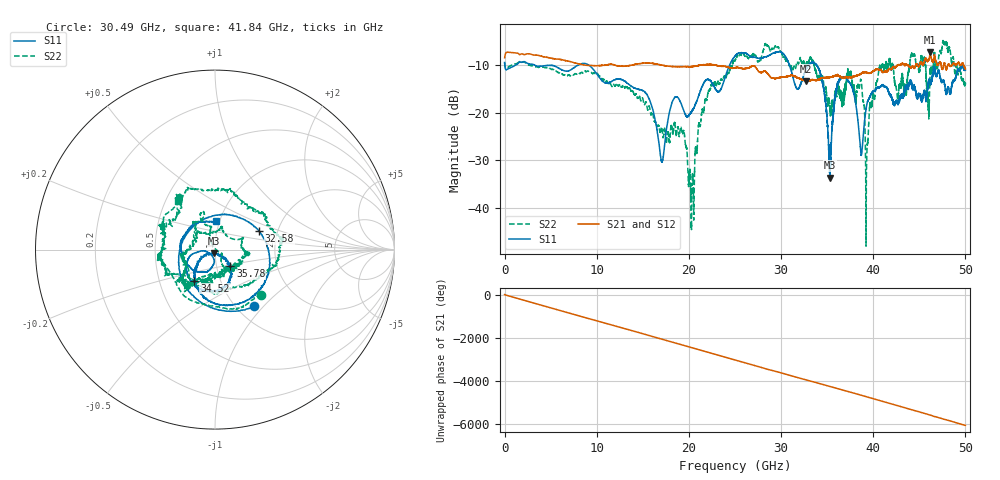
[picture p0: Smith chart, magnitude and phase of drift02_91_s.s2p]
!Created with skrf (http://scikit-rf.org).
# Hz S RI R 50.0
!freq ReS11 ImS11 ReS21 ImS21 ReS12 ImS12 ReS22 ImS22
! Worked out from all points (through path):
!   10001 points, 300 kHz to 50 GHz, reference 50 ohm
!   highest |S21| = -7.29 dB at 46.17 GHz (marker M1); lowest = -13.4 dB at 32.71 GHz (marker M2)
!   group delay of S21, straight-line fit = 335 ps
!   lowest |S11| = -33.7 dB at 35.28 GHz (marker M3), VSWR 1.04, Z = 49.4 - j1.98 ohm
!   |S11| at or under -10 dB: 3.231 GHz to 8.001 GHz (4.771 GHz wide, 84.9 % of centre); 9.108 GHz to 24.41 GHz (15.31 GHz wide, 91.3 % of centre); 33.85 GHz to end of sweep (the widest 3 of 10)
!   |S22| runs from -48.1 to -4.9 dB; largest |S21 - S12| = 0.013
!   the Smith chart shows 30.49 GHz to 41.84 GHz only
!   S11 on the Smith chart (normalised r, x): 30.49 GHz: 1.20, -0.89; 32.58 GHz: 1.60, +0.36; 34.52 GHz: 0.75, -0.27; 35.78 GHz: 1.17, -0.22; 41.84 GHz: 0.96, +0.31
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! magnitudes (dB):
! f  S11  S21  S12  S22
! 300 kHz  -9.5  -8.5  -8.4  -9.4
! 8.335 GHz  -9.7  -9.9  -9.9  -11.6
! 16.67 GHz  -25.4  -9.9  -9.9  -22.7
! 19.3 GHz  -18.9  -10.4  -10.3  -24.4
! 20.37 GHz  -19.6  -10.4  -10.3  -33.9
! 21.94 GHz  -13.1  -9.9  -9.9  -17.2
! 25 GHz  -8.2  -10.6  -10.6  -9.1
! 30.49 GHz  -8.3  -12.5  -12.4  -8.9
! 32.58 GHz  -11.5  -13.2  -13.3  -10.1
! 32.71 GHz  -11.0  -13.4  -13.5  -10.0
! 33.34 GHz  -9.5  -13.1  -13.2  -8.9
! 34.52 GHz  -13.7  -12.7  -12.7  -12.4
! 35.28 GHz  -33.7  -12.5  -12.5  -18.7
! 35.78 GHz  -18.0  -12.3  -12.3  -17.5
! 37.25 GHz  -13.3  -12.7  -12.6  -11.2
! 38.55 GHz  -26.1  -12.0  -12.0  -14.0
! 39.32 GHz  -18.1  -11.6  -11.5  -27.9
! 41.67 GHz  -15.6  -10.9  -11.1  -9.5
! 41.84 GHz  -16.1  -10.8  -10.8  -9.4
! 46.17 GHz  -13.3  -7.3  -7.3  -11.0
! 47.76 GHz  -14.2  -9.7  -9.7  -5.5
! 50 GHz  -11.0  -10.8  -10.7  -14.1
